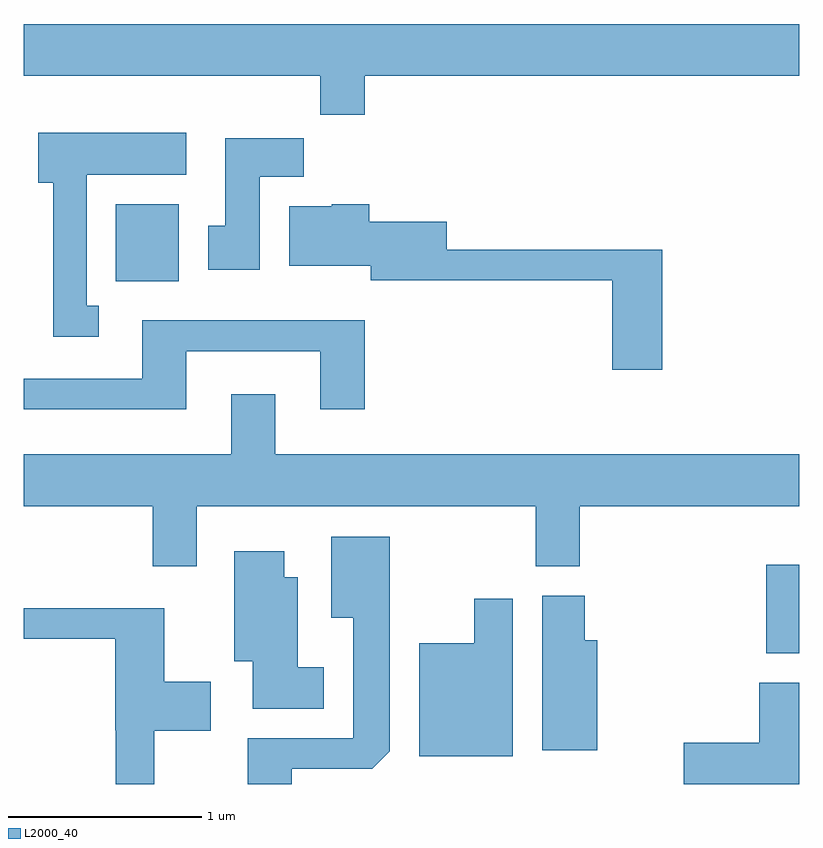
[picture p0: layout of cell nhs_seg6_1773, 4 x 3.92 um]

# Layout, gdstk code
import gdstk
lib = gdstk.Library(unit=1e-6, precision=1e-09)
def R(c, l, rs):  # rectangles x0, y0, x1, y1
    for r in rs: c.add(gdstk.rectangle(r[:2], r[2:], *l))
def P(c, l, *ps):  # polygons
    for p in ps: c.add(gdstk.Polygon(p, *l))
L2000_40 = (2000, 40)

nhs_seg6_1773 = lib.new_cell('nhs_seg6_1773')
R(nhs_seg6_1773, L2000_40, [(243.441,1544.836,243.611,1545.294), (240.086,1546.756,240.409,1547.154)])
P(nhs_seg6_1773, L2000_40, [(241.369,1547.816),(243.611,1547.816),(243.611,1548.084),(239.611,1548.084),(239.611,1547.816),(241.141,1547.816),(241.141,1547.616),(241.369,1547.616)],
  [(239.998,1546.629),(239.934,1546.629),(239.934,1547.306),(240.449,1547.306),(240.449,1547.524),(239.686,1547.524),(239.686,1547.266),(239.761,1547.266),(239.761,1546.471),(239.998,1546.471)],
  [(240.829,1547.296),(241.054,1547.296),(241.054,1547.494),(240.651,1547.494),(240.651,1547.044),(240.561,1547.044),(240.561,1546.816),(240.829,1546.816)],
  [(242.904,1546.919),(241.794,1546.919),(241.794,1547.064),(241.394,1547.064),(241.394,1547.154),(241.2,1547.154),(241.2,1547.144),(240.981,1547.144),(240.981,1546.836),(241.401,1546.836),(241.401,1546.761),(242.646,1546.761),(242.646,1546.301),(242.904,1546.301)],
  [(240.449,1546.396),(241.141,1546.396),(241.141,1546.096),(241.369,1546.096),(241.369,1546.554),(240.221,1546.554),(240.221,1546.254),(239.611,1546.254),(239.611,1546.096),(240.449,1546.096)],
  [(240.504,1545.596),(242.251,1545.596),(242.251,1545.286),(242.479,1545.286),(242.479,1545.596),(243.611,1545.596),(243.611,1545.864),(240.909,1545.864),(240.909,1546.174),(240.681,1546.174),(240.681,1545.864),(239.611,1545.864),(239.611,1545.596),(240.276,1545.596),(240.276,1545.286),(240.504,1545.286)],
  [(240.994,1544.241),(241.409,1544.241),(241.499,1544.332),(241.499,1545.439),(241.196,1545.439),(241.196,1545.021),(241.311,1545.021),(241.311,1544.399),(240.766,1544.399),(240.766,1544.162),(240.994,1544.162)],
  [(241.159,1544.764),(241.024,1544.764),(241.024,1545.229),(240.954,1545.229),(240.954,1545.364),(240.696,1545.364),(240.696,1544.796),(240.791,1544.796),(240.791,1544.551),(241.159,1544.551)],
  [(242.569,1544.904),(242.504,1544.904),(242.504,1545.134),(242.286,1545.134),(242.286,1544.336),(242.569,1544.336)],
  [(242.134,1545.119),(241.936,1545.119),(241.936,1544.889),(241.651,1544.889),(241.651,1544.306),(242.134,1544.306)],
  [(240.284,1544.436),(240.574,1544.436),(240.574,1544.689),(240.334,1544.689),(240.334,1545.069),(239.611,1545.069),(239.611,1544.911),(240.081,1544.911),(240.081,1544.44),(240.086,1544.44),(240.086,1544.162),(240.284,1544.162)],
  [(243.611,1544.684),(243.406,1544.684),(243.406,1544.374),(243.016,1544.374),(243.016,1544.162),(243.611,1544.162)])

lib.write_gds('nhs_seg6_1773.gds')
